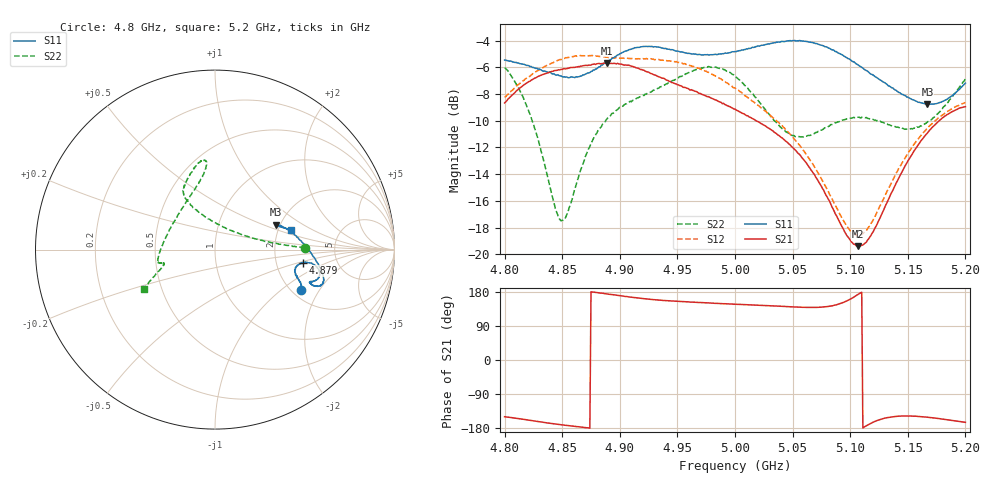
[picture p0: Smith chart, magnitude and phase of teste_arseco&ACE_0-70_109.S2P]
! Network Analyzer HP8722D
! Hewlett-Packard
! Data name: Linha & Wilkinson
! Saver's name: Rodrigo Anjos
! Comments: Teste da utilização de aquisição
! continua pelo VNA HP8722D
! Time and date: 8/5/2025 13:40
!  Frequency  S11  S21  S12  S22
# HZ  S  MA R 50
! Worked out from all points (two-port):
!   401 points, 4.8 GHz to 5.2 GHz, reference 50 ohm
!   highest |S21| = -5.68 dB at 4.889 GHz (marker M1); lowest = -19.4 dB at 5.107 GHz (marker M2)
!   |S21| within 3 dB of the highest: start of sweep to 4.989 GHz
!   lowest |S11| = -8.8 dB at 5.167 GHz (marker M3), VSWR 2.15, Z = 94.6 + j30.2 ohm
!   |S11| at or under -10 dB: nowhere
!   |S22| runs from -17.5 to -5.9 dB; largest |S21 - S12| = 1.1
!   S11 on the Smith chart (normalised r, x): 4.8 GHz: 2.23, -1.42; 4.879 GHz: 2.83, -0.55; 5.2 GHz: 2.35, +0.64
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4.8e9  0.533 -25.3  0.3685 -149.7  0.3874 9.5  0.5 1.0
4.811e9  0.5199 -22.7  0.4116 -154.3  0.4289 8.2  0.428 2.7
4.822e9  0.504 -20.8  0.4444 -159.1  0.4635 6.2  0.3348 6.0
4.848e9  0.4657 -16.2  0.4899 -170.5  0.5356 2.3  0.1351 56.7
4.854e9  0.4613 -14.7  0.4957 -172.8  0.5442 1.5  0.141 81.6
4.867e9  0.4657 -10.8  0.5062 -177.3  0.5533 -0.6  0.2121 110.9
4.879e9  0.4935 -8.5  0.5133 178.4  0.5531 -1.7  0.2801 118.4
4.889e9  0.5252 -8.0  0.5199 174.5  0.5477 -1.7  0.3225 119.9
4.913e9  0.5937 -11.3  0.502 164.5  0.539 -1.2  0.3793 117.3
4.934e9  0.5959 -16.0  0.4614 157.9  0.5361 -2.1  0.4193 111.6
4.975e9  0.5577 -19.0  0.3912 151.0  0.4846 -5.9  0.502 98.3
5e9  0.5739 -19.9  0.3493 147.3  0.4194 -5.8  0.4646 96.2
5.044e9  0.6276 -18.0  0.2653 141.1  0.2926 2.4  0.2879 131.8
5.067e9  0.6206 -13.7  0.2042 138.8  0.2199 9.1  0.2812 164.7
5.095e9  0.5506 -4.3  0.1219 153.2  0.1318 33.4  0.319 -172.1
5.107e9  0.5111 1.4  0.1073 173.3  0.1181 56.0  0.3259 -168.0
5.118e9  0.4727 6.9  0.1177 -166.9  0.1304 77.4  0.3203 -166.3
5.134e9  0.4262 14.5  0.1633 -151.2  0.1787 94.7  0.3054 -166.0
5.152e9  0.3834 20.7  0.2303 -147.9  0.2452 100.8  0.2947 -164.5
5.167e9  0.3646 22.3  0.2844 -151.0  0.2965 101.7  0.3132 -161.5
5.183e9  0.3785 20.1  0.3306 -157.0  0.3396 101.8  0.3635 -156.9
5.2e9  0.4372 14.6  0.3571 -164.5  0.37 102.1  0.4536 -151.0
